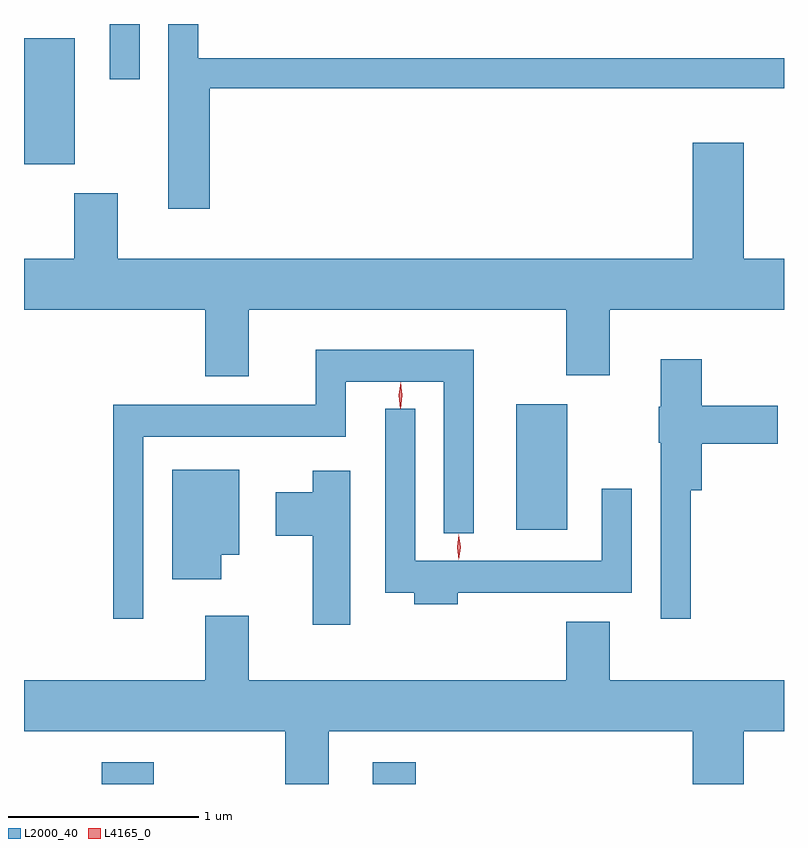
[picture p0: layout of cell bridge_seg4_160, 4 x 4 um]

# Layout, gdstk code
import gdstk
lib = gdstk.Library(unit=1e-6, precision=1e-09)
def R(c, l, rs):  # rectangles x0, y0, x1, y1
    for r in rs: c.add(gdstk.rectangle(r[:2], r[2:], *l))
def P(c, l, *ps):  # polygons
    for p in ps: c.add(gdstk.Polygon(p, *l))
L2000_40 = (2000, 40)
L4165_0 = (4165, 0)

bridge_seg4_160 = lib.new_cell('bridge_seg4_160')
R(bridge_seg4_160, L2000_40, [(951.226,1316.659,951.499,1316.774), (952.651,1316.659,952.879,1316.774), (953.406,1317.996,953.674,1318.659), (950.816,1319.921,951.084,1320.584), (951.266,1320.368,951.424,1320.659)])
P(bridge_seg4_160, L2000_40, [(951.794,1320.321),(954.816,1320.321),(954.816,1320.479),(951.734,1320.479),(951.734,1320.659),(951.576,1320.659),(951.576,1319.686),(951.794,1319.686)],
  [(951.999,1319.156),(953.671,1319.156),(953.671,1318.811),(953.899,1318.811),(953.899,1319.156),(954.816,1319.156),(954.816,1319.424),(954.604,1319.424),(954.604,1320.034),(954.336,1320.034),(954.336,1319.424),(951.309,1319.424),(951.309,1319.769),(951.081,1319.769),(951.081,1319.424),(950.816,1319.424),(950.816,1319.156),(951.771,1319.156),(951.771,1318.806),(951.999,1318.806)],
  [(951.444,1318.486),(952.509,1318.486),(952.509,1318.776),(953.026,1318.776),(953.026,1317.978),(953.184,1317.978),(953.184,1318.944),(952.351,1318.944),(952.351,1318.654),(951.286,1318.654),(951.286,1317.528),(951.444,1317.528)],
  [(954.324,1318.206),(954.384,1318.206),(954.384,1318.451),(954.784,1318.451),(954.784,1318.649),(954.384,1318.649),(954.384,1318.894),(954.166,1318.894),(954.166,1318.645),(954.156,1318.645),(954.156,1318.455),(954.166,1318.455),(954.166,1317.528),(954.324,1317.528)],
  [(953.099,1317.666),(954.014,1317.666),(954.014,1318.213),(953.856,1318.213),(953.856,1317.834),(952.874,1317.834),(952.874,1318.633),(952.716,1318.633),(952.716,1317.666),(952.871,1317.666),(952.871,1317.606),(953.099,1317.606)],
  [(951.854,1317.866),(951.949,1317.866),(951.949,1318.314),(951.596,1318.314),(951.596,1317.736),(951.854,1317.736)],
  [(952.534,1318.309),(952.336,1318.309),(952.336,1318.194),(952.141,1318.194),(952.141,1317.966),(952.336,1317.966),(952.336,1317.496),(952.534,1317.496)],
  [(952.419,1316.936),(954.336,1316.936),(954.336,1316.659),(954.604,1316.659),(954.604,1316.936),(954.816,1316.936),(954.816,1317.204),(953.899,1317.204),(953.899,1317.514),(953.671,1317.514),(953.671,1317.204),(951.999,1317.204),(951.999,1317.544),(951.771,1317.544),(951.771,1317.204),(950.816,1317.204),(950.816,1316.936),(952.191,1316.936),(952.191,1316.659),(952.419,1316.659)])
P(bridge_seg4_160, L4165_0, [(952.798,1318.634),(952.797,1318.635),(952.788,1318.704),(952.798,1318.773),(952.798,1318.774),(952.799,1318.773),(952.808,1318.704),(952.798,1318.635)],
  [(953.104,1317.839),(953.104,1317.84),(953.095,1317.906),(953.104,1317.972),(953.105,1317.973),(953.105,1317.972),(953.114,1317.906),(953.105,1317.84)])

lib.write_gds('bridge_seg4_160.gds')
